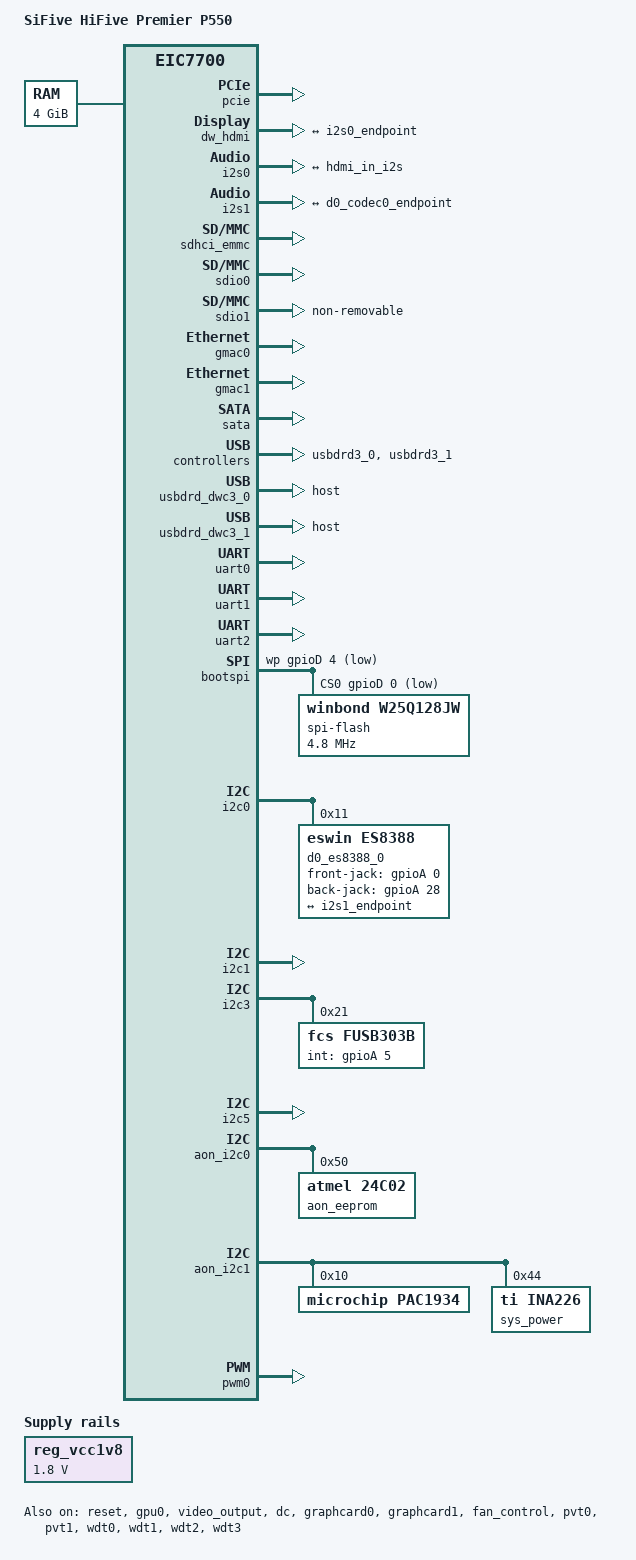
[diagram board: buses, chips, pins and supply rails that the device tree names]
// SPDX-License-Identifier: (GPL-2.0 OR MIT)
/*
 * Device Tree file for Eswin EIC7700 SoC.
 *
 * Copyright (c) 2024, Beijing ESWIN Computing Technology Co., Ltd.
 */

/dts-v1/;

#define CMA_SIZE		0x20000000

#include "eic7700.dtsi"
#include "hifive-premier-p550-pinctrl.dtsi"
#include <dt-bindings/interrupt-controller/irq.h>
#include <dt-bindings/gpio/gpio.h>

/* Clock frequency (in Hz) of the PCB crystal for rtcclk */

/ {
	compatible = "sifive,hifive-premier-p550", "eswin,eic7700";
	model = "SiFive HiFive Premier P550";

	aliases {
		serial0 = &uart0;
		ethernet0 = &gmac0;
		ethernet1 = &gmac1;
	};

	chosen {
		stdout-path = "serial0:115200n8";
	};

	memory@80000000 {
		device_type = "memory";
		reg = <0x0 0x80000000 0x7f 0x80000000>;
	};

	reserved-memory {
		#address-cells = <2>;
		#size-cells = <2>;
		ranges;

		linux,cma {
			compatible = "shared-dma-pool";
			reusable;
			size = <0x0 CMA_SIZE>;
			alignment = <0x0 0x1000>;
			linux,cma-default;
		};

		npu0_reserved: sprammemory@59000000 {
			no-map;
			reg = <0x0 0x59000000 0x0 0x400000>;
		};

		lpcpu0_reserved: lpcpu@a0000000 {
			no-map;
			reg = <0x0 0xa0000000 0x0 0x100000>;
		};

		g2d_4GB_boundary_reserved_4k {
			no-map;
			reg = <0x0 0xfffff000 0x0 0x1000>;
		};
	};

	reg_vcc1v8: vcc1v8 {
		compatible = "regulator-fixed";
		regulator-name = "vcc1v8";
		regulator-always-on;
		regulator-boot-on;
		regulator-min-microvolt = <1800000>;
		regulator-max-microvolt = <1800000>;
	};
};

&clk {
	status = "okay";
};

&reset {
	status = "okay";
};

&smmu0 {
	status = "okay";
};

&pcie {
	/* GPIO12 PCIE PRSNT input */
	status = "okay";
};

&gpu0 {
	status = "okay";
};

&video_output {
	status = "okay";
};

&dc {
	status = "okay";
};

&dw_hdmi {
	status = "okay";
	ports {
		port@2 {
			reg = <2>;
			hdmi_in_i2s: endpoint@1 {
				system-clock-frequency = <12288000>;
				remote-endpoint = <&i2s0_endpoint>;
			};
		};
	};
};

&i2s0 {
	status = "okay";
	i2s0_port: port {
		i2s0_endpoint: endpoint {
			remote-endpoint = <&hdmi_in_i2s>;
			dai-format = "i2s";
		};
	};
};

&i2s1 {
	status = "okay";
	i2s1_port: port {
		i2s1_endpoint: endpoint {
			remote-endpoint = <&d0_codec0_endpoint>;
			dai-format = "i2s";
		};
	};
};

&graphcard0 {
	status = "okay";
	dais = <&i2s1_port>;
};

&graphcard1 {
	status = "okay";
	dais = <&i2s0_port>;
};

&sdhci_emmc {
	/* emmc */
	status = "okay";
	delay_code = <0x17>;
	drive-impedance-ohm = <50>;
	enable-cmd-pullup;
	enable-data-pullup;
	no-sdio;
	no-sd;
	pinctrl-names = "default";
	pinctrl-0 = <&emmc_led_ctrl_pins>;
};

&sdio0 {
	/* sd card */
	status = "okay";
	delay_code = <0x55>;
	drive-impedance-ohm = <33>;
	enable-cmd-pullup;
	enable-data-pullup;
	no-sdio;
	no-mmc;
};

&sdio1 {
	/* wifi module */
	status = "okay";
	delay_code = <0x29>;
	drive-impedance-ohm = <33>;
	enable-cmd-pullup;
	enable-data-pullup;
	non-removable;
	no-sd;
	no-mmc;
};

&gmac0 {
	status = "okay";
	pinctrl-names = "default";
	pinctrl-0 = <&gpio106_pins>;
	rst-gpios = <&gpioD 10 GPIO_ACTIVE_LOW>;
	eswin,rgmiisel = <&pinctrl 0x290 0x3>;
	eswin,led-cfgs = <0x6100 0xa40 0x420>;
};

&gmac1 {
	status = "okay";
	pinctrl-names = "default";
	pinctrl-0 = <&gpio111_pins>;
	rst-gpios = <&gpioD 15 GPIO_ACTIVE_LOW>;
	eswin,rgmiisel = <&pinctrl 0x294 0x3>;
	eswin,led-cfgs = <0x6100 0xa40 0x420>;
};

&sata {
	status = "okay";
	pinctrl-names = "default";
	pinctrl-0 = <&sata_act_led_pins>;
};

&usbdrd3_0 {
	status = "okay";
};

&usbdrd_dwc3_0 {
	status = "okay";
	dr_mode = "host";
	maximum-speed = "super-speed";
};

&usbdrd3_1 {
	status = "okay";
};

&usbdrd_dwc3_1 {
	status = "okay";
	dr_mode = "host";
	maximum-speed = "super-speed";
};

&dmac {
	status = "okay";
};

&aon_dmac {
	status = "okay";
};

&uart0 {
	/* debug */
	status = "okay";
};

&uart1 {
	/* M.2 KEY E */
	status = "okay";
};

&uart2 {
	/* connect MCU */
	status = "okay";
};

&bootspi {
	/* spi flash */
	status = "okay";
	num-cs = <1>;
	cs-gpios = <&gpioD 0 GPIO_ACTIVE_LOW>;
	wp-gpios = <&gpioD 4 GPIO_ACTIVE_LOW>;
	spi-flash@0 {
		compatible = "winbond,w25q128jw",
					"jedec,spi-nor";
		reg = <0>;
		#address-cells = <1>;
		#size-cells = <1>;
		spi-max-frequency = <4800000>;
		rx-sample-delay-ns = <10>;
	};
};

&fan_control {
	status = "okay";
};

&i2c0 {
	/* codec es8388 */
	status = "okay";
	d0_es8388_0: es8388-0@11 {
		compatible = "eswin,es8388";
		reg = <0x11>;
		#sound-dai-cells = <0>;
		eswin-plat = <2>;
		pinctrl-names = "default";
		pinctrl-0 = <&gpio0_pins &gpio28_pins>;
		front-jack-gpios = <&gpioA 0 GPIO_ACTIVE_HIGH>;
		back-jack-gpios = <&gpioA 28 GPIO_ACTIVE_HIGH>;
		port {
			d0_codec0_endpoint: endpoint {
				system-clock-frequency = <12288000>;
				remote-endpoint = <&i2s1_endpoint>;
			};
		};
	};
};

&i2c1 {
	status = "okay";
};

&i2c3 {
	/* FUSB303B cc logic */
	status = "okay";
	fusb303b@21 {
		compatible = "fcs,fusb303b";
		status = "okay";
		reg = <0x21>;
		eswin,syscfg = <&sys_con 0x3C0 12>;
		int-gpios = <&gpioA 5 GPIO_ACTIVE_HIGH>;
		connector {
			compatible = "usb-c-connector";
			label = "USB-C";
			data-role = "host";
		};
	};
};

&i2c5 {
	/* TCA9548 */
	status = "okay";
};

&aon_i2c0 {
	/* AT24C02C EEPROM */
	status = "okay";
	eswin,syscfg = <&sys_con 0x3C0 16>;
	aon_eeprom@50 {
		compatible = "atmel,24c02";
		reg = <0x50>;
	};
};

&aon_i2c1 {
	/* INA226 & PAC1934 */
	status = "okay";
	eswin,syscfg = <&sys_con 0x3C0 15>;
	i2c-sda-hold-time-ns = <0x40>;

	pac1934:pac1934@10 {
		compatible = "microchip,pac1934";
		reg = <0x10>;

		#address-cells = <1>;
		#size-cells = <0>;

		channel@1 {
			reg = <0x1>;
			shunt-resistor-micro-ohms = <1000>;
			label = "som vdd";
		};

		channel@2 {
			reg = <0x2>;
			shunt-resistor-micro-ohms = <1000>;
			label = "soc vdd";
		};

		channel@3 {
			reg = <0x3>;
			shunt-resistor-micro-ohms = <1000>;
			label = "cpu vdd";
		};

		channel@4 {
			reg = <0x4>;
			shunt-resistor-micro-ohms = <1000>;
			label = "ddr lpvdd";
		};
	};

	sys_power:ina226@44 {
		compatible = "ti,ina226";
		#io-channel-cells = <1>;
		label = "sys_power";
		reg = <0x44>;
		shunt-resistor = <1000>;
	};
};

&pwm0 {
	/* fan */
	status = "okay";
};

&pvt0 {
	status = "okay";
};

&pvt1 {
	status = "okay";
};

&wdt0 {
	status = "okay";
};

&wdt1 {
	status = "okay";
};

&wdt2 {
	status = "okay";
};

&wdt3 {
	status = "okay";
};

&pinctrl {
	status = "okay";
	pinctrl-names = "default";
	pinctrl-0 = <&gpio6_pins &gpio7_pins
		&gpio8_pins &gpio9_pins
		&gpio10_pins &gpio17_pins
		&gpio35_pins &gpio36_pins
		&gpio37_pins &gpio38_pins
		&gpio39_pins &gpio40_pins
		&gpio41_pins &gpio52_pins
		&gpio53_pins &gpio64_pins
		&gpio65_pins &gpio66_pins
		&gpio67_pins &gpio70_pins
		&gpio73_pins &gpio83_pins
		&gpio86_pins &gpio87_pins
		&gpio92_pins &gpio93_pins>;

    /* pin header default function for GPIO
       SPI1 (CS0,SCLK,MOSI,MISO,D2,D3): GPIO 35,36,37,38,39,40
       I2C1 (SCL,SDA): GPIO 46,47
       UART3(TX,RX): GPIO 92,93
    */
};
